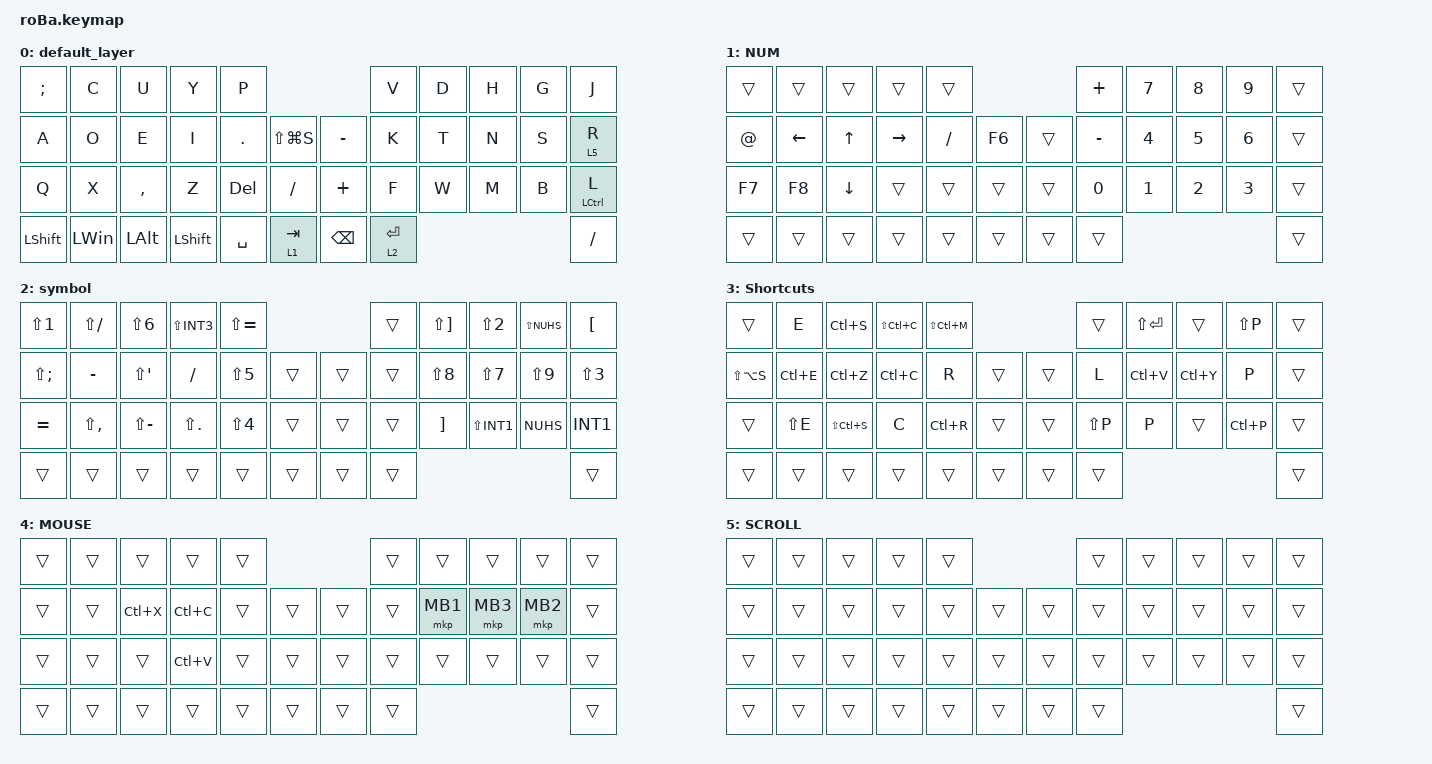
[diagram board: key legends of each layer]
#include <behaviors.dtsi>
#include <dt-bindings/zmk/keys.h>
#include <dt-bindings/zmk/pointing.h>

&mt {
    flavor = "balanced";
    quick-tap-ms = <0>;
};

&trackball {
    automouse-layer = <4>;
    scroll-layers = <5>;

    // arrows {
    //     layers = <3>;
    //     bindings =
    //         <&kp RIGHT_ARROW>,
    //         <&kp LEFT_ARROW>,
    //         <&kp UP_ARROW>,
    //         <&kp DOWN_ARROW>;
    //     tick = <10>;
    //     wait-ms = <5>;
    //     tap-ms = <5>;
    // };
};

/ {
    combos {
        compatible = "zmk,combos";

        eisuu {
            bindings = <&kp LANGUAGE_2>;
            key-positions = <12 13>;
        };

        kana {
            bindings = <&kp LA(GRAVE)>;
            key-positions = <18 19>;
        };
    };

    macros {
        to_layer_0: to_layer_0 {
            compatible = "zmk,behavior-macro-one-param";
            #binding-cells = <1>;
            bindings = <&to 0 &macro_param_1to1 &kp MACRO_PLACEHOLDER>;
            label = "TO_LAYER_0";
        };
    };

    behaviors {
        lt_to_layer_0: lt_to_layer_0 {
            compatible = "zmk,behavior-hold-tap";
            label = "LAYER_TAP_TO_0";
            bindings = <&mo>, <&to_layer_0>;

            #binding-cells = <2>;
            tapping-term-ms = <280>;
        };
    };

    keymap {
        compatible = "zmk,keymap";

        default_layer {
            bindings = <
&kp SEMICOLON   &kp C         &kp U         &kp Y           &kp P                                         &kp V        &kp D  &kp H  &kp G  &kp J
&kp A           &kp O         &kp E         &kp I           &kp PERIOD  &kp LS(LG(S))      &kp MINUS      &kp K        &kp T  &kp N  &kp S  &lt 5 R
&kp Q           &kp X         &kp COMMA     &kp Z           &kp DEL     &kp SLASH          &kp PLUS       &kp F        &kp W  &kp M  &kp B  &mt LCTRL L
&kp LEFT_SHIFT  &kp LEFT_WIN  &kp LEFT_ALT  &kp LEFT_SHIFT  &kp SPACE   &lt 1 TAB          &kp BACKSPACE  &lt 2 ENTER                       &kp SLASH
            >;
        };

        NUM {
            bindings = <
&trans  &trans          &trans          &trans           &trans                         &kp PLUS   &kp N7  &kp N8  &kp N9  &trans
&kp AT  &kp LEFT_ARROW  &kp UP_ARROW    &kp RIGHT_ARROW  &kp SLASH  &kp F6      &trans  &kp MINUS  &kp N4  &kp N5  &kp N6  &trans
&kp F7  &kp F8          &kp DOWN_ARROW  &trans           &trans     &trans      &trans  &kp N0     &kp N1  &kp N2  &kp N3  &trans
&trans  &trans          &trans          &trans           &trans     &trans      &trans  &trans                             &trans
            >;
        };

        symbol {
            bindings = <
&kp LS(N1)     &kp LS(FSLH)  &kp LS(N6)     &kp LS(INT3)  &kp LS(EQUAL)  &trans  &kp LS(RBKT)  &kp LS(N2)    &kp LS(NUHS)  &kp LBKT
&kp LS(SEMI)   &kp MINUS     &kp LS(SQT)    &kp FSLH      &kp LS(N5)     &trans  &trans        &trans        &kp LS(N8)    &kp LS(N7)  &kp LS(N9)    &kp LS(N3)
&kp EQUAL      &kp LS(COMMA) &kp LS(MINUS)  &kp LS(DOT)   &kp LS(N4)     &trans  &trans        &trans        &kp RBKT      &kp LS(INT1) &kp NUHS      &kp INT1
&trans         &trans        &trans          &trans        &trans          &trans  &trans        &trans        &trans
            >;
        };

        Shortcuts {
            bindings = <
&trans         &kp E      &kp LC(S)      &kp LS(LC(C))  &kp LS(LC(M))                      &trans     &kp LS(ENTER)  &trans     &kp LS(P)  &trans
&kp LS(LA(S))  &kp LC(E)  &kp LC(Z)      &kp LC(C)      &kp R          &trans      &trans  &kp L      &kp LC(V)      &kp LC(Y)  &kp P      &trans
&trans         &kp LS(E)  &kp LS(LC(S))  &kp C          &kp LC(R)      &trans      &trans  &kp LS(P)  &kp P          &trans     &kp LC(P)  &trans
&trans         &trans     &trans         &trans         &trans         &trans      &trans  &trans                                          &trans
            >;
        };

        MOUSE {
            bindings = <
&trans  &trans  &trans     &trans     &trans                      &trans  &trans    &trans    &trans    &trans
&trans  &trans  &kp LC(X)  &kp LC(C)  &trans  &trans      &trans  &trans  &mkp MB1  &mkp MB3  &mkp MB2  &trans
&trans  &trans  &trans     &kp LC(V)  &trans  &trans      &trans  &trans  &trans    &trans    &trans    &trans
&trans  &trans  &trans     &trans     &trans  &trans      &trans  &trans                                &trans
            >;
        };

        SCROLL {
            bindings = <
&trans  &trans  &trans  &trans  &trans                      &trans  &trans  &trans  &trans  &trans
&trans  &trans  &trans  &trans  &trans  &trans      &trans  &trans  &trans  &trans  &trans  &trans
&trans  &trans  &trans  &trans  &trans  &trans      &trans  &trans  &trans  &trans  &trans  &trans
&trans  &trans  &trans  &trans  &trans  &trans      &trans  &trans                          &trans
            >;
        };
    };
};
